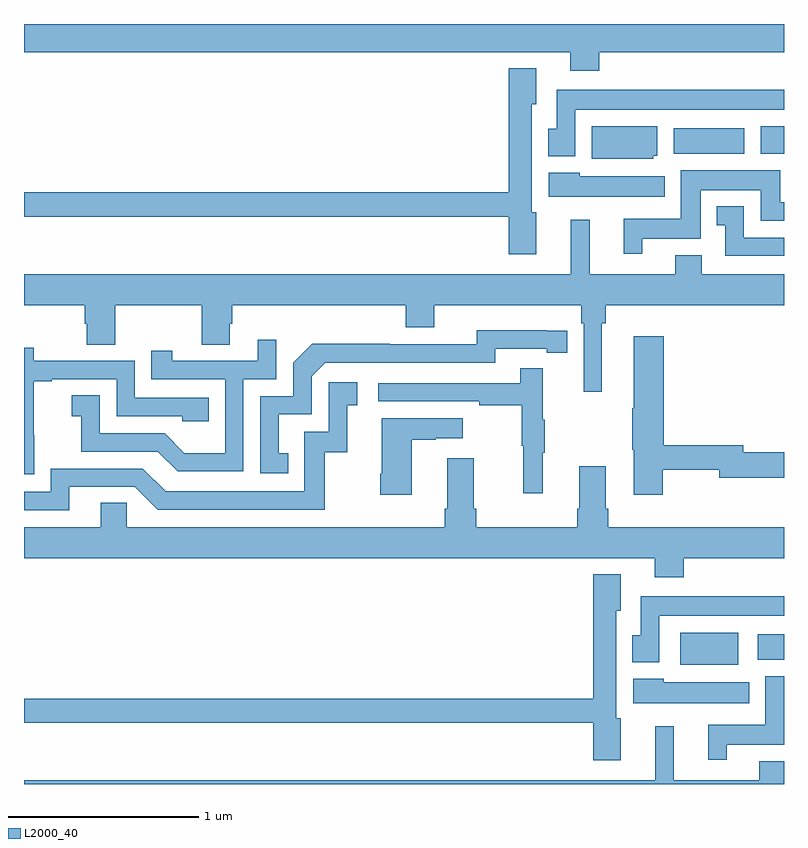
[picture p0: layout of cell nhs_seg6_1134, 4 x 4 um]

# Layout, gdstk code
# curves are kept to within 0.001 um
import gdstk
lib = gdstk.Library(unit=1e-6, precision=1e-09)
def R(c, l, rs):  # rectangles x0, y0, x1, y1
    for r in rs: c.add(gdstk.rectangle(r[:2], r[2:], *l))
def P(c, l, *ps):  # polygons
    for p in ps: c.add(gdstk.Polygon(p, *l))
L2000_40 = (2000, 40)

nhs_seg6_1134 = lib.new_cell('nhs_seg6_1134')
R(nhs_seg6_1134, L2000_40, [(184.454,928.127,184.759,928.297), (184.863,928.154,185,928.288), (184.419,930.818,184.792,930.952), (184.877,930.818,185,930.961)])
P(nhs_seg6_1134, L2000_40, [(184.028,931.352),(185,931.352),(185,931.5),(181,931.5),(181,931.352),(183.875,931.352),(183.875,931.253),(184.028,931.253)],
  [(183.697,930.51),(183.673,930.51),(183.673,931.077),(183.697,931.077),(183.697,931.267),(183.551,931.267),(183.551,930.614),(181,930.614),(181,930.486),(183.551,930.486),(183.551,930.288),(183.697,930.288)],
  [(183.9,931.049),(185,931.049),(185,931.153),(183.803,931.153),(183.803,930.948),(183.758,930.948),(183.758,930.804),(183.9,930.804)],
  [(184.311,930.807),(184.333,930.807),(184.333,930.961),(183.989,930.961),(183.989,930.791),(184.311,930.791)],
  [(184.255,930.371),(184.561,930.371),(184.561,930.626),(184.877,930.626),(184.877,930.465),(185,930.465),(185,930.561),(184.981,930.561),(184.981,930.73),(184.457,930.73),(184.457,930.475),(184.157,930.475),(184.157,930.291),(184.255,930.291)],
  [(184.372,930.7),(183.924,930.7),(183.924,930.718),(183.762,930.718),(183.762,930.59),(184.372,930.59)],
  [(185,930.375),(184.788,930.375),(184.788,930.541),(184.646,930.541),(184.646,930.441),(184.692,930.441),(184.692,930.279),(185,930.279)],
  [(183.878,930.469),(183.878,930.184),(181,930.184),(181,930.02),(181.319,930.02),(181.319,929.922),(181.331,929.922),(181.331,929.812),(181.479,929.812),(181.479,930.02),(181.936,930.02),(181.936,929.812),(182.083,929.812),(182.083,929.922),(182.096,929.922),(182.096,930.02),(183.008,930.02),(183.008,929.903),(183.16,929.903),(183.16,930.02),(183.932,930.02),(183.932,929.924),(183.945,929.924),(183.945,929.565),(184.042,929.565),(184.042,929.924),(184.061,929.924),(184.061,930.02),(185,930.02),(185,930.184),(184.567,930.184),(184.567,930.283),(184.427,930.283),(184.427,930.184),(183.977,930.184),(183.977,930.469)],
  [(182.39,929.241),(182.341,929.241),(182.341,929.445),(182.514,929.445),(182.514,929.646),(182.586,929.718),(183.48,929.718),(183.48,929.79),(183.752,929.79),(183.752,929.77),(183.86,929.77),(183.86,929.886),(183.384,929.887),(183.384,929.814),(182.924,929.814),(182.924,929.816),(182.516,929.816),(182.418,929.718),(182.418,929.541),(182.244,929.541),(182.244,929.136),(182.39,929.136)],
  [(184.362,929.154),(184.658,929.154),(184.658,929.111),(185,929.111),(185,929.246),(184.786,929.246),(184.786,929.282),(184.367,929.282),(184.367,929.857),(184.208,929.857),(184.208,929.477),(184.201,929.477),(184.201,929.259),(184.208,929.259),(184.208,929.022),(184.362,929.022)],
  [(182.154,929.631),(182.328,929.631),(182.328,929.839),(182.231,929.839),(182.231,929.727),(181.78,929.727),(181.78,929.779),(181.669,929.779),(181.669,929.631),(182.058,929.631),(182.058,929.242),(181.844,929.242),(181.74,929.346),(181.398,929.346),(181.398,929.545),(181.251,929.545),(181.251,929.435),(181.3,929.435),(181.3,929.25),(181.703,929.25),(181.808,929.145),(182.154,929.145)],
  [(181.053,929.335),(181.052,929.335),(181.052,929.619),(181.147,929.619),(181.147,929.631),(181.488,929.631),(181.488,929.436),(181.833,929.436),(181.833,929.409),(181.973,929.409),(181.973,929.532),(181.584,929.532),(181.584,929.727),(181.05,929.727),(181.05,929.796),(181,929.796),(181,929.129),(181.053,929.129)],
  [(183.731,929.243),(183.742,929.243),(183.742,929.417),(183.731,929.417),(183.731,929.689),(183.613,929.689),(183.613,929.61),(182.865,929.61),(182.865,929.514),(183.397,929.514),(183.397,929.494),(183.621,929.494),(183.621,929.28),(183.628,929.28),(183.628,929.031),(183.731,929.031)],
  [(181.237,929.064),(181.584,929.064),(181.704,928.944),(182.584,928.944),(182.584,929.247),(182.702,929.247),(182.702,929.493),(182.755,929.493),(182.755,929.614),(182.604,929.614),(182.604,929.355),(182.475,929.355),(182.475,929.04),(181.746,929.04),(181.626,929.16),(181.14,929.16),(181.14,929.037),(181,929.037),(181,928.941),(181.237,928.941)],
  [(183.04,929.311),(183.167,929.311),(183.167,929.321),(183.31,929.321),(183.31,929.425),(182.882,929.425),(182.882,929.134),(182.875,929.134),(182.875,929.022),(183.04,929.022)],
  [(184.472,928.688),(185,928.688),(185,928.852),(184.076,928.852),(184.076,928.948),(184.063,928.948),(184.063,929.173),(183.923,929.173),(183.923,928.948),(183.911,928.948),(183.911,928.852),(183.38,928.852),(183.38,928.948),(183.367,928.948),(183.367,929.215),(183.227,929.215),(183.227,928.948),(183.215,928.948),(183.215,928.852),(181.542,928.852),(181.542,928.979),(181.403,928.979),(181.403,928.852),(181,928.852),(181,928.688),(184.319,928.688),(184.319,928.589),(184.472,928.589)],
  [(184.141,927.846),(184.117,927.846),(184.117,928.413),(184.141,928.413),(184.141,928.603),(183.995,928.603),(183.995,927.95),(181,927.95),(181,927.822),(183.995,927.822),(183.995,927.624),(184.141,927.624)],
  [(184.344,928.385),(185,928.385),(185,928.489),(184.247,928.489),(184.247,928.284),(184.202,928.284),(184.202,928.14),(184.344,928.14)],
  [(184.699,927.707),(185,927.707),(185,928.066),(184.901,928.066),(184.901,927.811),(184.601,927.811),(184.601,927.627),(184.699,927.627)],
  [(184.816,928.036),(184.368,928.036),(184.368,928.054),(184.206,928.054),(184.206,927.926),(184.816,927.926)],
  [(185,927.619),(184.871,927.619),(184.871,927.52),(184.421,927.52),(184.421,927.805),(184.322,927.805),(184.322,927.52),(181,927.52),(181,927.5),(185,927.5)])

lib.write_gds('nhs_seg6_1134.gds')
